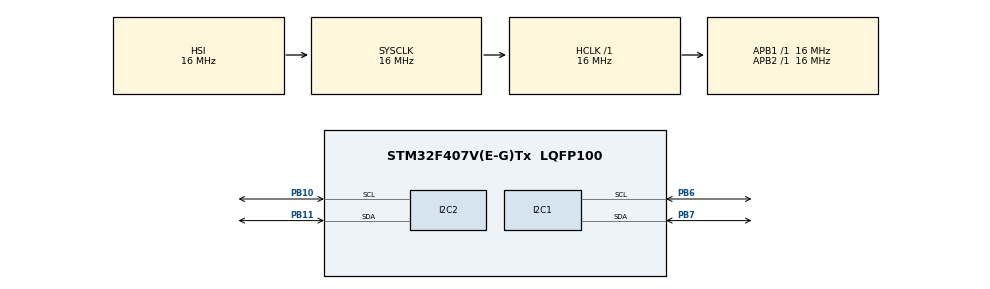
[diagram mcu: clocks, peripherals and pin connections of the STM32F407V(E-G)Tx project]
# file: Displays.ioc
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I2C1.I2C_Mode=I2C_Fast
I2C2.I2C_Mode=I2C_Fast
Mcu.Family=STM32F4
Mcu.Name=STM32F407V(E-G)Tx
Mcu.Package=LQFP100
NVIC.PriorityGroup=NVIC_PRIORITYGROUP_4
PA13.Mode=Serial_Wire
PA13.Signal=SYS_JTMS-SWDIO
PA14.Mode=Serial_Wire
PA14.Signal=SYS_JTCK-SWCLK
PB10.Mode=I2C
PB10.Signal=I2C2_SCL
PB11.Mode=I2C
PB11.Signal=I2C2_SDA
PB6.Mode=I2C
PB6.Signal=I2C1_SCL
PB7.Mode=I2C
PB7.Signal=I2C1_SDA
ProjectManager.HeapSize=0x200
ProjectManager.StackSize=0x400
ProjectManager.TargetToolchain=STM32CubeIDE
RCC.AHBFreq_Value=16000000
RCC.APB1Freq_Value=16000000
RCC.APB2Freq_Value=16000000
RCC.CortexFreq_Value=16000000
RCC.HSE_VALUE=25000000
RCC.HSI_VALUE=16000000
RCC.LSE_VALUE=32768
RCC.SYSCLKFreq_VALUE=16000000
RCC.VCOOutputFreq_Value=192000000
board=custom

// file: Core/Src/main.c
/* USER CODE BEGIN Header */
/**
  ******************************************************************************
  * @file           : main.c
  * @brief          : Main program body
  ******************************************************************************
  * @attention
  *
  * Copyright (c) 2024 STMicroelectronics.
  * All rights reserved.
  *
  * This software is licensed under terms that can be found in the LICENSE file
  * in the root directory of this software component.
  * If no LICENSE file comes with this software, it is provided AS-IS.
  *
  ******************************************************************************
  */
/* USER CODE END Header */
#include "main.h"

/* USER CODE BEGIN Includes */
#include "fonts.h"
#include "ssd1306.h"
#include <stdio.h>
#include "string.h"
/* USER CODE END Includes */

I2C_HandleTypeDef hi2c1;
I2C_HandleTypeDef hi2c2;

void SystemClock_Config(void);
static void MX_GPIO_Init(void);
static void MX_I2C1_Init(void);
static void MX_I2C2_Init(void);

int main(void)
{

  /* MCU Configuration--------------------------------------------------------*/

  /* Reset of all peripherals, Initializes the Flash interface and the Systick. */
  HAL_Init();

  /* Configure the system clock */
  SystemClock_Config();

  /* Initialize all configured peripherals */
  MX_GPIO_Init();
  MX_I2C1_Init();
  MX_I2C2_Init();
  /* USER CODE BEGIN 2 */
  SSD1306_Init(hi2c1);
  SSD1306_Init(hi2c2);
  uint16_t count = 1;
  uint16_t countLVL = 1;

  /* USER CODE END 2 */

  /* Infinite loop */
  /* USER CODE BEGIN WHILE */
  while (1)
  {
//	  SSD1306_Clear();
	  char One_print[5] = "";
	  char Two_print[5] = "";
	  	  SSD1306_GotoXY(35, 0);
	  	  SSD1306_Puts("SCORE", &Font_11x18, 1);
	  	  sprintf(One_print, "%u", count);
			SSD1306_GotoXY(35, 35);
			SSD1306_Puts(One_print, &Font_11x18, 1);
	  	  SSD1306_UpdateScreen(hi2c1);
	  	  count =  count == 65000 ? 1 : count + 1;
	  	  countLVL =  count % 100 == 0 ? countLVL + 1 : countLVL;

//
	  	  SSD1306_GotoXY(35, 0);
	  	  SSD1306_Puts("SCORE LVL", &Font_7x10, 1);
	  	  sprintf(Two_print, "%u", countLVL);
	  	  SSD1306_GotoXY(35, 35);
 	  	  SSD1306_Puts(Two_print, &Font_11x18, 1);
	  	  SSD1306_UpdateScreen(hi2c2);
//	  	  HAL_Delay(10);

    /* USER CODE END WHILE */

  }
}

void SystemClock_Config(void)
{
  RCC_OscInitTypeDef RCC_OscInitStruct = {0};
  RCC_ClkInitTypeDef RCC_ClkInitStruct = {0};

  /** Configure the main internal regulator output voltage
  */
  __HAL_RCC_PWR_CLK_ENABLE();
  __HAL_PWR_VOLTAGESCALING_CONFIG(PWR_REGULATOR_VOLTAGE_SCALE1);

  /** Initializes the RCC Oscillators according to the specified parameters
  * in the RCC_OscInitTypeDef structure.
  */
  RCC_OscInitStruct.OscillatorType = RCC_OSCILLATORTYPE_HSI;
  RCC_OscInitStruct.HSIState = RCC_HSI_ON;
  RCC_OscInitStruct.HSICalibrationValue = RCC_HSICALIBRATION_DEFAULT;
  RCC_OscInitStruct.PLL.PLLState = RCC_PLL_NONE;
  if (HAL_RCC_OscConfig(&RCC_OscInitStruct) != HAL_OK)
  {
    Error_Handler();
  }

  /** Initializes the CPU, AHB and APB buses clocks
  */
  RCC_ClkInitStruct.ClockType = RCC_CLOCKTYPE_HCLK|RCC_CLOCKTYPE_SYSCLK
                              |RCC_CLOCKTYPE_PCLK1|RCC_CLOCKTYPE_PCLK2;
  RCC_ClkInitStruct.SYSCLKSource = RCC_SYSCLKSOURCE_HSI;
  RCC_ClkInitStruct.AHBCLKDivider = RCC_SYSCLK_DIV1;
  RCC_ClkInitStruct.APB1CLKDivider = RCC_HCLK_DIV1;
  RCC_ClkInitStruct.APB2CLKDivider = RCC_HCLK_DIV1;

  if (HAL_RCC_ClockConfig(&RCC_ClkInitStruct, FLASH_LATENCY_0) != HAL_OK)
  {
    Error_Handler();
  }
}

static void MX_I2C1_Init(void)
{

  hi2c1.Instance = I2C1;
  hi2c1.Init.ClockSpeed = 400000;
  hi2c1.Init.DutyCycle = I2C_DUTYCYCLE_2;
  hi2c1.Init.OwnAddress1 = 0;
  hi2c1.Init.AddressingMode = I2C_ADDRESSINGMODE_7BIT;
  hi2c1.Init.DualAddressMode = I2C_DUALADDRESS_DISABLE;
  hi2c1.Init.OwnAddress2 = 0;
  hi2c1.Init.GeneralCallMode = I2C_GENERALCALL_DISABLE;
  hi2c1.Init.NoStretchMode = I2C_NOSTRETCH_DISABLE;
  if (HAL_I2C_Init(&hi2c1) != HAL_OK)
  {
    Error_Handler();
  }

}

static void MX_I2C2_Init(void)
{

  hi2c2.Instance = I2C2;
  hi2c2.Init.ClockSpeed = 400000;
  hi2c2.Init.DutyCycle = I2C_DUTYCYCLE_2;
  hi2c2.Init.OwnAddress1 = 0;
  hi2c2.Init.AddressingMode = I2C_ADDRESSINGMODE_7BIT;
  hi2c2.Init.DualAddressMode = I2C_DUALADDRESS_DISABLE;
  hi2c2.Init.OwnAddress2 = 0;
  hi2c2.Init.GeneralCallMode = I2C_GENERALCALL_DISABLE;
  hi2c2.Init.NoStretchMode = I2C_NOSTRETCH_DISABLE;
  if (HAL_I2C_Init(&hi2c2) != HAL_OK)
  {
    Error_Handler();
  }

}

static void MX_GPIO_Init(void)
{

  /* GPIO Ports Clock Enable */
  __HAL_RCC_GPIOB_CLK_ENABLE();
  __HAL_RCC_GPIOA_CLK_ENABLE();

}

void Error_Handler(void)
{
  __disable_irq();
  while (1)
  {
  }
}
